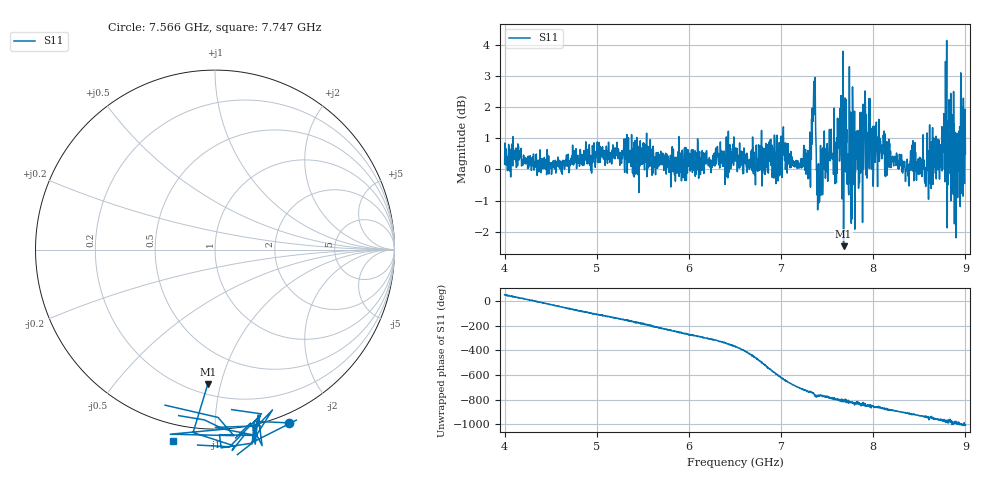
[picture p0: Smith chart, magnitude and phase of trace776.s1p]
! Created with skrf 1.8.0 (http://scikit-rf.org).
# Hz S RI R 50.0
!freq ReS11 ImS11
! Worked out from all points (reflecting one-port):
!   1601 points, 4 GHz to 9 GHz, reference 50 ohm
!   lowest |S11| = -2.5 dB at 7.678 GHz (marker M1), VSWR 7.08, Z = 13.2 - j45.6 ohm
!   phase of S11 starts at 50 deg and turns -1057 deg over the sweep
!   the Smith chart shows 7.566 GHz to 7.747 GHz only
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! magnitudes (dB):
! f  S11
! 4 GHz  0.2
! 4.625 GHz  -0.2
! 5.25 GHz  0.1
! 5.875 GHz  -0.1
! 6.5 GHz  0.4
! 6.725 GHz  0.1
! 6.988 GHz  -0.2
! 7.038 GHz  0.3
! 7.125 GHz  0.2
! 7.294 GHz  -0.3
! 7.356 GHz  2.8
! 7.409 GHz  -1.1
! 7.453 GHz  -0.5
! 7.584 GHz  -0.5
! 7.647 GHz  1.2
! 7.678 GHz  -2.5
! 7.75 GHz  -0.5
! 7.784 GHz  0.7
! 7.8 GHz  -1.9
! 7.825 GHz  1.2
! 7.928 GHz  1.1
! 8.375 GHz  -0.2
! 8.428 GHz  0.4
! 8.581 GHz  0.4
! 8.728 GHz  0.6
! 8.775 GHz  1.0
! 8.825 GHz  0.9
! 9 GHz  0.5
